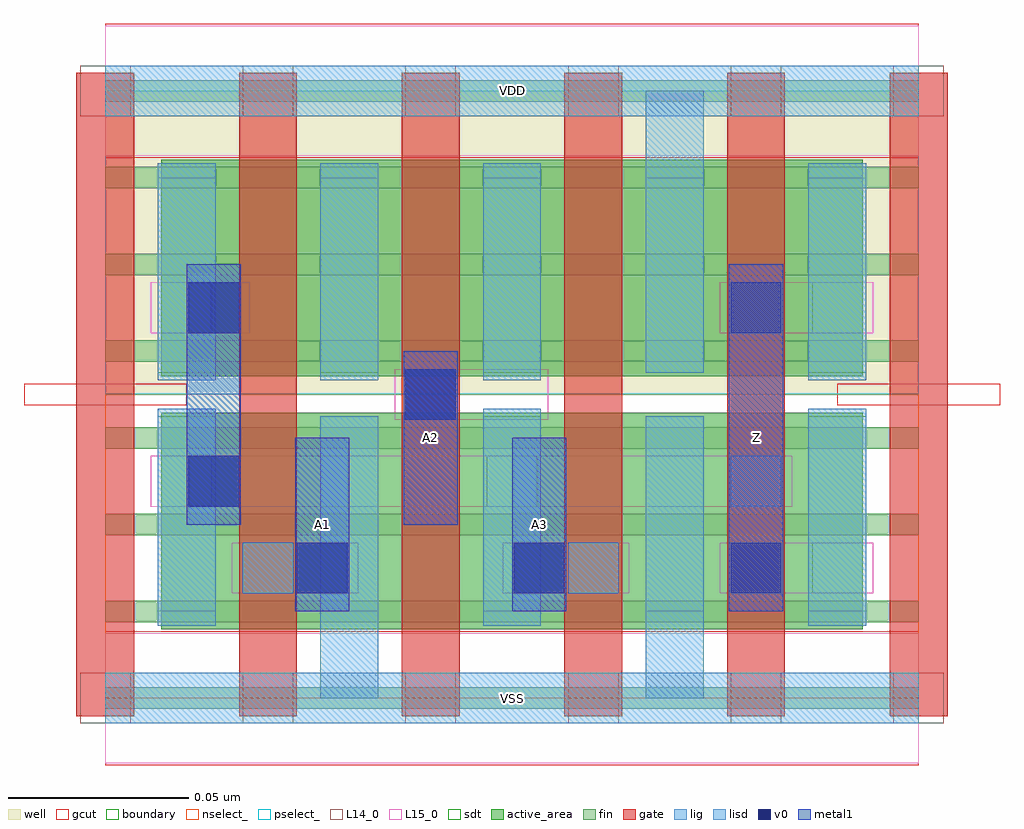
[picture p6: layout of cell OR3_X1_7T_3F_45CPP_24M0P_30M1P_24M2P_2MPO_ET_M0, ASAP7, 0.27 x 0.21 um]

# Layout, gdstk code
import gdstk
lib = gdstk.Library(unit=1e-6, precision=2.5e-10)
def R(c, l, rs):  # rectangles x0, y0, x1, y1
    for r in rs: c.add(gdstk.rectangle(r[:2], r[2:], *l))
def A(c, l, x, y, w, h, nx, ny, dx, dy):  # array of equal rectangles
    R(c, l, [(x+i*dx, y+j*dy, x+i*dx+w, y+j*dy+h) for i in range(nx) for j in range(ny)])
well = (1, 0)
fin = (2, 0)
gate = (7, 0)
gcut = (10, 0)
active_area = (11, 0)
nselect_ = (12, 0)
pselect_ = (13, 0)
L14_0 = (14, 0)
L15_0 = (15, 0)
lig = (16, 0)
lisd = (17, 0)
v0 = (18, 0)
metal1 = (19, 0)
sdt = (88, 0)
boundary = (100, 0)

or3_x1_7t_3f_45cpp_24m0p = lib.new_cell('OR3_X1_7T_3F_45CPP_24M0P_30M1P_24M2P_2MPO_ET_M0')
R(or3_x1_7t_3f_45cpp_24m0p, well, [(0,0.084,0.225,0.168)])
A(or3_x1_7t_3f_45cpp_24m0p, fin, 0, -0.003, 0.225, 0.006, 1, 8, 0, 0.024)
A(or3_x1_7t_3f_45cpp_24m0p, gate, -0.008, -0.005, 0.016, 0.178, 6, 1, 0.045, 0)
R(or3_x1_7t_3f_45cpp_24m0p, gcut, [(0,-0.0185,0.225,0.0185), (-0.0225,0.081,0.0225,0.087), (0.2025,0.081,0.2475,0.087), (0,0.1495,0.225,0.1865)])
A(or3_x1_7t_3f_45cpp_24m0p, active_area, 0.0155, 0.019, 0.059, 0.06, 4, 2, 0.045, 0.07)
R(or3_x1_7t_3f_45cpp_24m0p, nselect_, [(0,0,0.225,0.084)])
R(or3_x1_7t_3f_45cpp_24m0p, pselect_, [(0,0.084,0.225,0.168)])
A(or3_x1_7t_3f_45cpp_24m0p, L14_0, -0.007, -0.007, 0.014, 0.014, 6, 2, 0.045, 0.168)
R(or3_x1_7t_3f_45cpp_24m0p, L14_0, [(0.038,0.029,0.052,0.043), (0.128,0.029,0.142,0.043), (0.1955,0.029,0.2095,0.043), (0.0155,0.053,0.0295,0.067), (0.1055,0.053,0.1195,0.067), (0.173,0.053,0.187,0.067), (0.083,0.077,0.097,0.091), (0.0155,0.101,0.0295,0.115), (0.1955,0.101,0.2095,0.115)])
R(or3_x1_7t_3f_45cpp_24m0p, L15_0, [(0,-0.018,0.225,0.018), (0.035,0.029,0.07,0.043), (0.11,0.029,0.145,0.043), (0.17,0.029,0.2125,0.043), (0.0125,0.053,0.19,0.067), (0.08,0.077,0.1225,0.091), (0.0125,0.101,0.04,0.115), (0.17,0.101,0.2125,0.115), (0,0.15,0.225,0.186)])
R(or3_x1_7t_3f_45cpp_24m0p, lig, [(0,-0.007,0.225,0.007), (0.038,0.029,0.052,0.043), (0.128,0.029,0.142,0.043), (0.173,0.053,0.187,0.067), (0.083,0.077,0.097,0.091), (0,0.161,0.225,0.175)])
A(or3_x1_7t_3f_45cpp_24m0p, lisd, 0.0145, 0.02, 0.016, 0.06, 3, 1, 0.09, 0)
A(or3_x1_7t_3f_45cpp_24m0p, lisd, 0.0145, 0.088, 0.016, 0.06, 3, 1, 0.045, 0)
R(or3_x1_7t_3f_45cpp_24m0p, lisd, [(0.0595,0,0.0755,0.078), (0.1495,0,0.1655,0.078), (0.1945,0.088,0.2105,0.148), (0.1495,0.09,0.1655,0.168)])
A(or3_x1_7t_3f_45cpp_24m0p, v0, 0.053, 0.029, 0.014, 0.014, 3, 1, 0.06, 0)
R(or3_x1_7t_3f_45cpp_24m0p, v0, [(0.023,0.053,0.037,0.067), (0.083,0.077,0.097,0.091), (0.023,0.101,0.037,0.115), (0.173,0.101,0.187,0.115)])
R(or3_x1_7t_3f_45cpp_24m0p, metal1, [(0.0525,0.024,0.0675,0.072), (0.1125,0.024,0.1275,0.072), (0.1725,0.024,0.1875,0.12), (0.0225,0.048,0.0375,0.12), (0.0825,0.048,0.0975,0.096)])
A(or3_x1_7t_3f_45cpp_24m0p, sdt, 0.0145, 0.024, 0.016, 0.054, 5, 2, 0.045, 0.066)
R(or3_x1_7t_3f_45cpp_24m0p, boundary, [(0,0,0.225,0.168)])
or3_x1_7t_3f_45cpp_24m0p.add(gdstk.Label('Z', (0.18,0.072), layer=19, texttype=251))
or3_x1_7t_3f_45cpp_24m0p.add(gdstk.Label('A1', (0.06,0.048), layer=19, texttype=251))
or3_x1_7t_3f_45cpp_24m0p.add(gdstk.Label('A2', (0.09,0.072), layer=19, texttype=251))
or3_x1_7t_3f_45cpp_24m0p.add(gdstk.Label('A3', (0.12,0.048), layer=19, texttype=251))
or3_x1_7t_3f_45cpp_24m0p.add(gdstk.Label('VDD', (0.1125,0.168), layer=15, texttype=251))
or3_x1_7t_3f_45cpp_24m0p.add(gdstk.Label('VSS', (0.1125,0), layer=15, texttype=251))
or3_x1_7t_3f_45cpp_24m0p.add(gdstk.Label('VDD', (0.1125,0.168), layer=1, texttype=251))
or3_x1_7t_3f_45cpp_24m0p.add(gdstk.Label('VSS', (0.1125,0), layer=3, texttype=251))

lib.write_gds('OR3_X1_7T_3F_45CPP_24M0P_30M1P_24M2P_2MPO_ET_M0.gds')
